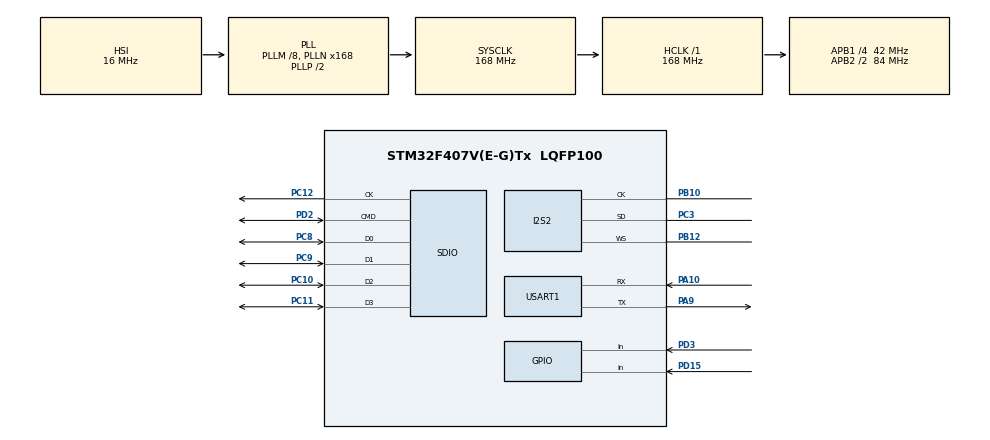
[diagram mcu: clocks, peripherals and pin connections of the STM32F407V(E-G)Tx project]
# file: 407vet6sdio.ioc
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Dma.Request0=SDIO_RX
Dma.Request1=SDIO_TX
Dma.Request2=SPI2_TX
Dma.SDIO_RX.0.Direction=DMA_PERIPH_TO_MEMORY
Dma.SDIO_RX.0.FIFOMode=DMA_FIFOMODE_ENABLE
Dma.SDIO_RX.0.FIFOThreshold=DMA_FIFO_THRESHOLD_FULL
Dma.SDIO_RX.0.Instance=DMA2_Stream3
Dma.SDIO_RX.0.MemBurst=DMA_MBURST_INC4
Dma.SDIO_RX.0.MemDataAlignment=DMA_MDATAALIGN_WORD
Dma.SDIO_RX.0.MemInc=DMA_MINC_ENABLE
Dma.SDIO_RX.0.Mode=DMA_PFCTRL
Dma.SDIO_RX.0.PeriphBurst=DMA_PBURST_INC4
Dma.SDIO_RX.0.PeriphDataAlignment=DMA_PDATAALIGN_WORD
Dma.SDIO_RX.0.PeriphInc=DMA_PINC_DISABLE
Dma.SDIO_RX.0.Priority=DMA_PRIORITY_VERY_HIGH
Dma.SDIO_TX.1.Direction=DMA_MEMORY_TO_PERIPH
Dma.SDIO_TX.1.FIFOMode=DMA_FIFOMODE_ENABLE
Dma.SDIO_TX.1.FIFOThreshold=DMA_FIFO_THRESHOLD_FULL
Dma.SDIO_TX.1.Instance=DMA2_Stream6
Dma.SDIO_TX.1.MemBurst=DMA_MBURST_INC4
Dma.SDIO_TX.1.MemDataAlignment=DMA_MDATAALIGN_WORD
Dma.SDIO_TX.1.MemInc=DMA_MINC_ENABLE
Dma.SDIO_TX.1.Mode=DMA_PFCTRL
Dma.SDIO_TX.1.PeriphBurst=DMA_PBURST_INC4
Dma.SDIO_TX.1.PeriphDataAlignment=DMA_PDATAALIGN_WORD
Dma.SDIO_TX.1.PeriphInc=DMA_PINC_DISABLE
Dma.SDIO_TX.1.Priority=DMA_PRIORITY_VERY_HIGH
Dma.SPI2_TX.2.Direction=DMA_MEMORY_TO_PERIPH
Dma.SPI2_TX.2.FIFOMode=DMA_FIFOMODE_DISABLE
Dma.SPI2_TX.2.Instance=DMA1_Stream4
Dma.SPI2_TX.2.MemDataAlignment=DMA_MDATAALIGN_HALFWORD
Dma.SPI2_TX.2.MemInc=DMA_MINC_ENABLE
Dma.SPI2_TX.2.Mode=DMA_NORMAL
Dma.SPI2_TX.2.PeriphDataAlignment=DMA_PDATAALIGN_HALFWORD
Dma.SPI2_TX.2.PeriphInc=DMA_PINC_DISABLE
Dma.SPI2_TX.2.Priority=DMA_PRIORITY_LOW
FATFS.BSP.number=1
FATFS.USE_DMA_CODE_SD=1
FATFS._CODE_PAGE=936
FATFS._USE_LFN=2
FATFS0.BSP.STBoard=false
FATFS0.BSP.api=Unknown
FATFS0.BSP.instance=PD3
FATFS0.BSP.ip=GPIO
FATFS0.BSP.mode=Input
FATFS0.BSP.name=Detect_SDIO
FATFS0.BSP.solution=PD3
FREERTOS.Tasks01=defaultTask,24,1024,StartDefaultTask,Default,NULL,Dynamic,NULL,NULL
FREERTOS.configUSE_NEWLIB_REENTRANT=1
I2S2.AudioFreq=I2S_AUDIOFREQ_44K
I2S2.DataFormat=I2S_DATAFORMAT_16B
I2S2.ErrorAudioFreq=0.26 %
I2S2.FullDuplexMode=I2S_FULLDUPLEXMODE_DISABLE
I2S2.Instance=SPI$Index
I2S2.RealAudioFreq=44.117 KHz
I2S2.VirtualMode=I2S_MODE_MASTER
Mcu.Family=STM32F4
Mcu.Name=STM32F407V(E-G)Tx
Mcu.Package=LQFP100
NVIC.DMA1_Stream4_IRQn=true\:5\:0\:false\:false\:true\:false\:false\:true\:true
NVIC.DMA2_Stream3_IRQn=true\:6\:0\:true\:false\:true\:false\:false\:true\:true
NVIC.DMA2_Stream6_IRQn=true\:6\:0\:true\:false\:true\:false\:false\:true\:true
NVIC.PriorityGroup=NVIC_PRIORITYGROUP_4
NVIC.SDIO_IRQn=true\:6\:0\:true\:false\:true\:false\:true\:true\:true
NVIC.SPI2_IRQn=true\:5\:0\:true\:false\:true\:false\:true\:true\:true
NVIC.TIM6_DAC_IRQn=true\:15\:0\:false\:false\:true\:false\:false\:true\:true
NVIC.TimeBase=TIM6_DAC_IRQn
NVIC.TimeBaseIP=TIM6
PA10.Mode=Asynchronous
PA10.Signal=USART1_RX
PA13.Mode=Serial_Wire
PA13.Signal=SYS_JTMS-SWDIO
PA14.Mode=Serial_Wire
PA14.Signal=SYS_JTCK-SWCLK
PA9.Mode=Asynchronous
PA9.Signal=USART1_TX
PB10.Mode=Half_Duplex_Master
PB10.Signal=I2S2_CK
PB12.Mode=Half_Duplex_Master
PB12.Signal=I2S2_WS
PC10.Mode=SD_4_bits_Wide_bus
PC10.Signal=SDIO_D2
PC11.Mode=SD_4_bits_Wide_bus
PC11.Signal=SDIO_D3
PC12.Mode=SD_4_bits_Wide_bus
PC12.Signal=SDIO_CK
PC14-OSC32_IN.Mode=LSE-External-Oscillator
PC14-OSC32_IN.Signal=RCC_OSC32_IN
PC15-OSC32_OUT.Mode=LSE-External-Oscillator
PC15-OSC32_OUT.Signal=RCC_OSC32_OUT
PC3.Mode=Half_Duplex_Master
PC3.Signal=I2S2_SD
PC8.Mode=SD_4_bits_Wide_bus
PC8.Signal=SDIO_D0
PC9.Mode=SD_4_bits_Wide_bus
PC9.Signal=SDIO_D1
PD15.GPIO_PuPd=GPIO_PULLUP
PD15.Signal=GPIO_Input
PD2.Mode=SD_4_bits_Wide_bus
PD2.Signal=SDIO_CMD
PD3.GPIO_PuPd=GPIO_PULLUP
PD3.Signal=GPIO_Input
PH0-OSC_IN.Mode=HSE-External-Oscillator
PH0-OSC_IN.Signal=RCC_OSC_IN
PH1-OSC_OUT.Mode=HSE-External-Oscillator
PH1-OSC_OUT.Signal=RCC_OSC_OUT
ProjectManager.HeapSize=0x4000
ProjectManager.StackSize=0x6000
ProjectManager.TargetToolchain=STM32CubeIDE
RCC.48MHZClocksFreq_Value=48000000
RCC.AHBFreq_Value=168000000
RCC.APB1CLKDivider=RCC_HCLK_DIV4
RCC.APB1Freq_Value=42000000
RCC.APB1TimFreq_Value=84000000
RCC.APB2CLKDivider=RCC_HCLK_DIV2
RCC.APB2Freq_Value=84000000
RCC.APB2TimFreq_Value=168000000
RCC.CortexFreq_Value=168000000
RCC.HCLKFreq_Value=168000000
RCC.HSE_VALUE=25000000
RCC.HSI_VALUE=16000000
RCC.PLLM=8
RCC.PLLN=168
RCC.PLLQ=7
RCC.SYSCLKFreq_VALUE=168000000
RCC.SYSCLKSource=RCC_SYSCLKSOURCE_PLLCLK
RCC.VCOOutputFreq_Value=336000000
SDIO.ClockDiv=5
USART1.VirtualMode=VM_ASYNC
VP_FATFS_VS_SDIO.Mode=SDIO
VP_FREERTOS_VS_CMSIS_V2.Mode=CMSIS_V2
VP_SYS_VS_tim6.Mode=TIM6
board=custom

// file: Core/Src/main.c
/* USER CODE BEGIN Header */
/**
 ******************************************************************************
 * @file           : main.c
 * @brief          : Main program body
 ******************************************************************************
 * @attention
 *
 * Copyright (c) 2025 STMicroelectronics.
 * All rights reserved.
 *
 * This software is licensed under terms that can be found in the LICENSE file
 * in the root directory of this software component.
 * If no LICENSE file comes with this software, it is provided AS-IS.
 *
 ******************************************************************************
 */
/* USER CODE END Header */
#include "main.h"
#include "cmsis_os.h"
#include "dma.h"
#include "fatfs.h"
#include "i2s.h"
#include "sdio.h"
#include "usart.h"
#include "gpio.h"

/* USER CODE BEGIN Includes */
#include "math.h"
#include "filemanager.h"
#include <string.h>
/* USER CODE END Includes */

/* USER CODE BEGIN PTD */
// WAV文件头部结构

int __io_putchar(int ch) {
	HAL_UART_Transmit(&huart1, (uint8_t*) &ch, 1, 0xFFFFFFFF);
	return ch;
}

int __io_getchar(void) {
	char rxChar;
	while (HAL_UART_Receive(&huart1, (uint8_t*) &rxChar, 1, 0xFFFFFFFF)
			== HAL_TIMEOUT)
		;
	return rxChar;
}

/* USER CODE END PTD */

/* USER CODE BEGIN PV */
//AudioPlayer player = { 0 };
/* USER CODE END PV */

void SystemClock_Config(void);
void MX_FREERTOS_Init(void);
/* USER CODE BEGIN PFP */
void HAL_I2S_TxCpltCallback(I2S_HandleTypeDef *hi2s);
//uint8_t WavOpen(const char *filename, WavHeader *header, AudioPlayer *player);
//void WavPlay(AudioPlayer *player);
/* USER CODE END PFP */

/* USER CODE BEGIN 0 */

//// 解析WAV文件头部并打开文件
//uint8_t WavOpen(const char *filename, WavHeader *header, AudioPlayer *player) {
//	FRESULT res;
//	UINT bytesRead;
//
//	// 打开文件
//	res = f_open(&player->file, filename, FA_READ);
//	if (res != FR_OK) {
//		printf("open file failed %s error code: %d\r\n", filename, res);
//		return 0;
//	}
//
//	// 读取WAV头部
//	res = f_read(&player->file, header, sizeof(WavHeader), &bytesRead);
//	if (res != FR_OK || bytesRead != sizeof(WavHeader)) {
//		printf("read WAVhead failed error code : %d\r\n", res);
//		f_close(&player->file);
//		return 0;
//	}
//
//	// 验证WAV文件
//	if (memcmp(header->riff, "RIFF", 4) != 0
//			|| memcmp(header->wave, "WAVE", 4) != 0
//			|| memcmp(header->fmt, "fmt ", 4) != 0
//			|| header->audio_format != 1) {
//		printf("not ok PCM WAV file\r\n");
//		f_close(&player->file);
//		return 0;
//	}
//
//	// 打印音频信息
//	printf("WAV file info :\r\n");
//	printf("sample rate : %d Hz\r\n", header->sample_rate);
//	printf("channel count: %d\r\n", header->num_channels);
//	printf("bit sample : %d bits\r\n", header->bits_per_sample);
//
//	// 查找数据块
//	uint8_t chunk_id[4];
//	uint32_t chunk_size;
//	while (1) {
//		res = f_read(&player->file, chunk_id, 4, &bytesRead);
//		if (res != FR_OK || bytesRead != 4)
//			break;
//
//		res = f_read(&player->file, &chunk_size, 4, &bytesRead);
//		if (res != FR_OK || bytesRead != 4)
//			break;
//
//		// 找到数据块
//		if (memcmp(chunk_id, "data", 4) == 0) {
//			player->data_start = f_tell(&player->file);
//			player->data_size = chunk_size;
//			player->bytes_played = 0;
//			player->playing = 1;
//			printf("find data block : %ld bytes\r\n", chunk_size);
//			return 1;
//		}
//
//		// 跳过当前块
//		f_lseek(&player->file, f_tell(&player->file) + chunk_size);
//	}
//
//	printf("未找到数据块！\r\n");
//	f_close(&player->file);
//	return 0;
//}

//// 填充缓冲区
//uint8_t FillBuffer(AudioPlayer *player, uint8_t *buffer, uint32_t size) {
//	UINT bytesRead;
//	uint32_t bytesToRead = size;
//
//
//	// 检查是否还有数据可读取
//	if (player->bytes_played >= player->data_size) {
//		return 0;
//	}
//
//	// 计算实际可读取的字节数
//	if (player->bytes_played + bytesToRead > player->data_size) {
//		bytesToRead = player->data_size - player->bytes_played;
//	}
//
//	// 读取数据
//	FRESULT res = f_read(&player->file, buffer, bytesToRead, &bytesRead);
//	if (res != FR_OK) {
//		printf("data send error: %d\r\n", res);
//		return 0;
//	}else{
//		printf("data send success\r\n");
//	}
//
//	// 填充剩余空间（如果需要）
//	if (bytesRead < bytesToRead) {
//		memset(buffer + bytesRead, 0, bytesToRead - bytesRead);
//	}
//
//	player->bytes_played += bytesRead;
//	return 1;
//}

// 开始播放WAV文件
//void WavPlay(AudioPlayer *player) {
//	// 填充两个缓冲区
//	if (!FillBuffer(player, player->buffer, BUFFER_SIZE)) {
//		player->playing = 0;
//		return;
//	}
//
//	if (!FillBuffer(player, player->buffer2, BUFFER_SIZE)) {
//		player->playing = 0;
//		return;
//	}
//
//	// 开始播放第一个缓冲区
//	player->current_buffer = 0;
//	printf("send first block\r\n");
//	//HAL_I2S_Transmit_DMA(&hi2s2, (uint16_t*) player->buffer, BUFFER_SIZE / 2);
//}

// I2S传输完成回调函数
//void HAL_I2S_TxCpltCallback(I2S_HandleTypeDef *hi2s) {
//
//	printf("HAL_I2S_TxCpltCallback\r\n");
////	uint8_t data[32]={0,1,2,3,4,5,6,7,8,9,10,11,12,13,14,15,16,17,18,19,20,21,22,23,24,25,26,27,28,29,30,31};
////	HAL_I2S_Transmit_DMA(&hi2s2, (uint16_t*) data,
////					16);
//
////	if (!player.playing)
////		return;
////
////	// 切换缓冲区
////	if (player.current_buffer == 0) {
////		// 填充第一个缓冲区，同时播放第二个
////		if (!FillBuffer(&player, player.buffer, BUFFER_SIZE)) {
////			player.playing = 0;
////			return;
////		}
////		player.current_buffer = 1;
////		//HAL_I2S_Transmit_DMA(&hi2s2, (uint16_t*) player.buffer2,	BUFFER_SIZE / 2);
////		printf("send buffer 0\r\n");
////	} else {
////		// 填充第二个缓冲区，同时播放第一个
////		if (!FillBuffer(&player, player.buffer2, BUFFER_SIZE)) {
////			player.playing = 0;
////			return;
////		}
////		player.current_buffer = 0;
////		//HAL_I2S_Transmit_DMA(&hi2s2, (uint16_t*) player.buffer,BUFFER_SIZE / 2);
////		printf("send buffer 1\r\n");
////	}
////	printf("send end\r\n");
////	// 检查是否播放完成
////	if (player.bytes_played >= player.data_size) {
////		printf("play complete\r\n");
////		player.playing = 0;
////		f_close(&player.file);
////	}
//
//
//}

/* USER CODE END 0 */

int main(void)
{

  /* USER CODE BEGIN 1 */
//	WavHeader wavHeader;
  /* USER CODE END 1 */

  /* MCU Configuration--------------------------------------------------------*/

  /* Reset of all peripherals, Initializes the Flash interface and the Systick. */
  HAL_Init();

  /* Configure the system clock */
  SystemClock_Config();

  /* Initialize all configured peripherals */
  MX_GPIO_Init();
  MX_DMA_Init();
  MX_SDIO_SD_Init();
  MX_USART1_UART_Init();
  MX_FATFS_Init();
  MX_I2S2_Init();
  /* USER CODE BEGIN 2 */
	printf("system init success，read play WAV file...\r\n");

	// 打开WAV文件并开始播放
//	if (WavOpen("2.wav", &wavHeader, &player)) {
//		printf("start play WAV file ...\r\n");
//		WavPlay(&player);
//	} else {
//		printf("cant play WAV file \r\n");
//	}
  /* USER CODE END 2 */

  /* Init scheduler */
  osKernelInitialize();

  /* Call init function for freertos objects (in cmsis_os2.c) */
  MX_FREERTOS_Init();

  /* Start scheduler */
  osKernelStart();

  /* We should never get here as control is now taken by the scheduler */

  /* Infinite loop */
  /* USER CODE BEGIN WHILE */
//	while (1) {
//    /* USER CODE END WHILE */
//
//    /* USER CODE BEGIN 3 */
//		// 可以在这里添加其他处理逻辑
//		HAL_Delay(1000);
//	}
  /* USER CODE END 3 */
}

void SystemClock_Config(void)
{
  RCC_OscInitTypeDef RCC_OscInitStruct = {0};
  RCC_ClkInitTypeDef RCC_ClkInitStruct = {0};

  /** Configure the main internal regulator output voltage
  */
  __HAL_RCC_PWR_CLK_ENABLE();
  __HAL_PWR_VOLTAGESCALING_CONFIG(PWR_REGULATOR_VOLTAGE_SCALE1);

  /** Initializes the RCC Oscillators according to the specified parameters
  * in the RCC_OscInitTypeDef structure.
  */
  RCC_OscInitStruct.OscillatorType = RCC_OSCILLATORTYPE_HSI;
  RCC_OscInitStruct.HSIState = RCC_HSI_ON;
  RCC_OscInitStruct.HSICalibrationValue = RCC_HSICALIBRATION_DEFAULT;
  RCC_OscInitStruct.PLL.PLLState = RCC_PLL_ON;
  RCC_OscInitStruct.PLL.PLLSource = RCC_PLLSOURCE_HSI;
  RCC_OscInitStruct.PLL.PLLM = 8;
  RCC_OscInitStruct.PLL.PLLN = 168;
  RCC_OscInitStruct.PLL.PLLP = RCC_PLLP_DIV2;
  RCC_OscInitStruct.PLL.PLLQ = 7;
  if (HAL_RCC_OscConfig(&RCC_OscInitStruct) != HAL_OK)
  {
    Error_Handler();
  }

  /** Initializes the CPU, AHB and APB buses clocks
  */
  RCC_ClkInitStruct.ClockType = RCC_CLOCKTYPE_HCLK|RCC_CLOCKTYPE_SYSCLK
                              |RCC_CLOCKTYPE_PCLK1|RCC_CLOCKTYPE_PCLK2;
  RCC_ClkInitStruct.SYSCLKSource = RCC_SYSCLKSOURCE_PLLCLK;
  RCC_ClkInitStruct.AHBCLKDivider = RCC_SYSCLK_DIV1;
  RCC_ClkInitStruct.APB1CLKDivider = RCC_HCLK_DIV4;
  RCC_ClkInitStruct.APB2CLKDivider = RCC_HCLK_DIV2;

  if (HAL_RCC_ClockConfig(&RCC_ClkInitStruct, FLASH_LATENCY_5) != HAL_OK)
  {
    Error_Handler();
  }
}

void HAL_TIM_PeriodElapsedCallback(TIM_HandleTypeDef *htim)
{
  if (htim->Instance == TIM6)
  {
    HAL_IncTick();
  }
}

void Error_Handler(void)
{
	__disable_irq();
	while (1) {
	}
}

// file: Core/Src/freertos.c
/* USER CODE BEGIN Header */
/**
  ******************************************************************************
  * File Name          : freertos.c
  * Description        : Code for freertos applications
  ******************************************************************************
  * @attention
  *
  * Copyright (c) 2025 STMicroelectronics.
  * All rights reserved.
  *
  * This software is licensed under terms that can be found in the LICENSE file
  * in the root directory of this software component.
  * If no LICENSE file comes with this software, it is provided AS-IS.
  *
  ******************************************************************************
  */
/* USER CODE END Header */

#include "FreeRTOS.h"
#include "task.h"
#include "main.h"
#include "cmsis_os.h"

/* USER CODE BEGIN Includes */
#include "fatfs.h"
#include "i2s.h"
/* USER CODE END Includes */

/* USER CODE BEGIN PTD */
osSemaphoreId_t i2sDmaSemaphore;
const osSemaphoreAttr_t i2sDmaSemaphore_attr = {
  .name = "i2sDmaSemaphore"
};
/* USER CODE END PTD */

/* Definitions for defaultTask */
osThreadId_t defaultTaskHandle;
const osThreadAttr_t defaultTask_attributes = {
  .name = "defaultTask",
  .stack_size = 1024 * 4,
  .priority = (osPriority_t) osPriorityAboveNormal,
};

FIL file;
#define BUFFER_SIZE 2048
uint8_t buffer[BUFFER_SIZE];  // 读取缓冲区
uint8_t sample_bytes = 2;     // 默认16位采样（2字节），后续会更新

void StartDefaultTask(void *argument);

void MX_FREERTOS_Init(void); /* (MISRA C 2004 rule 8.1) */

void MX_FREERTOS_Init(void) {

  /* USER CODE BEGIN RTOS_SEMAPHORES */
  /* add semaphores, ... */
	 i2sDmaSemaphore = osSemaphoreNew(1, 0, &i2sDmaSemaphore_attr);

  /* USER CODE END RTOS_SEMAPHORES */
//	 audioPlayerTaskHandle = osThreadNew(StartAudioPlayerTask, NULL, &audioPlayerTask_attributes);

  /* Create the thread(s) */
  /* creation of defaultTask */
  defaultTaskHandle = osThreadNew(StartDefaultTask, NULL, &defaultTask_attributes);

}

void StartDefaultTask(void *argument)
{
  /* USER CODE BEGIN StartDefaultTask */
  /* Infinite loop */
	 /* 初始化文件管理器 */
	  initFileManager();
	  const char *filename = "1.wav";
	  /* 打开WAV文件并解析头部 */
	 FRESULT res = f_open(&file, filename, FA_READ);
	  if (res != FR_OK) {
	    printf("Failed to open WAV file\r\n");
	    // 任务出错，进入休眠
	    for(;;) {
	      osDelay(1000);
	    }
	  }

	  /* 启动第一次DMA传输 */
	  readAndPlayNextBuffer();

	  /* 任务主循环 */
	  for(;;) {
	    // 等待DMA传输完成信号
	    if (osSemaphoreAcquire(i2sDmaSemaphore, osWaitForever) == osOK) {
	      // 读取并播放下一段音频数据
	      if (!readAndPlayNextBuffer()) {
	        // 播放完成，这里可以处理循环播放或停止播放
	        printf("Audio playback completed\r\n");
	        // 如果需要循环播放，可以在这里重新打开文件
	        // openWavFile("test.wav");
	        // readAndPlayNextBuffer();
	      }
	    }
	  }

  /* USER CODE END StartDefaultTask */
}

/* USER CODE BEGIN Application */
/* I2S DMA传输完成回调函数 */
void HAL_I2S_TxCpltCallback(I2S_HandleTypeDef *hi2s) {
  // 释放信号量，唤醒音频播放任务
  osSemaphoreRelease(i2sDmaSemaphore);
}

/* 读取并播放下一个缓冲区的数据 */
int readAndPlayNextBuffer() {
  uint32_t bytesRead;
  FRESULT res;

  // 读取数据
  res = f_read(&file, buffer, BUFFER_SIZE, &bytesRead);
  if (res != FR_OK || bytesRead == 0) {
    return 0;
  }

  // 启动I2S DMA传输
  if (HAL_I2S_Transmit_DMA(&hi2s2, (uint16_t*)buffer, bytesRead / sample_bytes) != HAL_OK) {
    return 0;
  }

  return 1;
}

/* USER CODE END Application */
